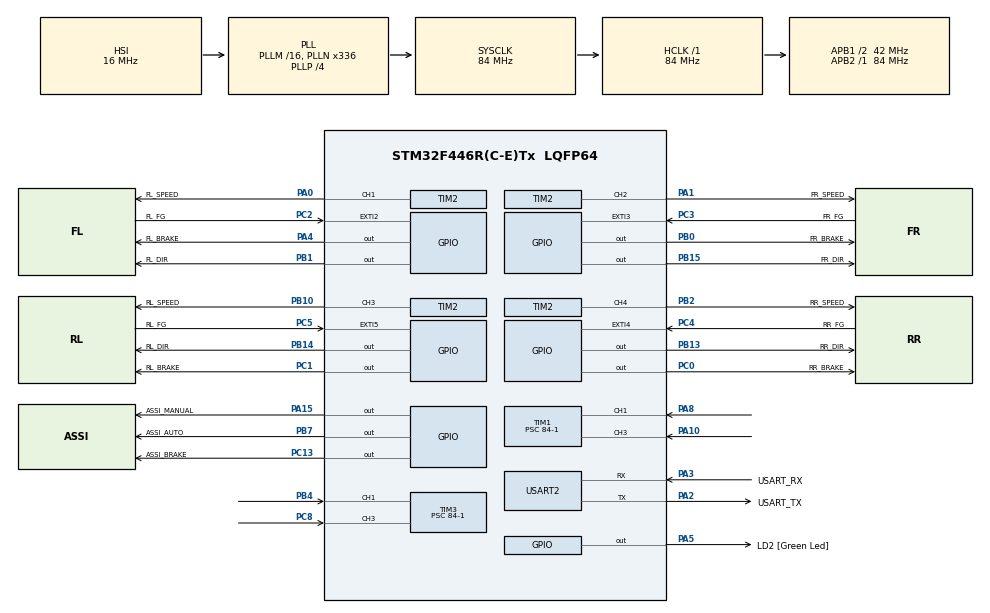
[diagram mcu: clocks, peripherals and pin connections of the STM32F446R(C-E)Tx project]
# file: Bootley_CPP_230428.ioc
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Dma.Request0=TIM1_CH1
Dma.Request1=TIM1_CH2
Dma.Request2=TIM1_CH3
Dma.Request3=TIM1_CH4/TRIG/COM
Dma.Request4=TIM3_CH1/TRIG
Dma.Request5=TIM3_CH2
Dma.Request6=TIM3_CH3
Dma.Request7=TIM3_CH4/UP
Dma.TIM1_CH1.0.Direction=DMA_PERIPH_TO_MEMORY
Dma.TIM1_CH1.0.FIFOMode=DMA_FIFOMODE_DISABLE
Dma.TIM1_CH1.0.Instance=DMA2_Stream1
Dma.TIM1_CH1.0.MemDataAlignment=DMA_MDATAALIGN_HALFWORD
Dma.TIM1_CH1.0.MemInc=DMA_MINC_ENABLE
Dma.TIM1_CH1.0.Mode=DMA_CIRCULAR
Dma.TIM1_CH1.0.PeriphDataAlignment=DMA_PDATAALIGN_HALFWORD
Dma.TIM1_CH1.0.PeriphInc=DMA_PINC_DISABLE
Dma.TIM1_CH1.0.Priority=DMA_PRIORITY_LOW
Dma.TIM1_CH2.1.Direction=DMA_PERIPH_TO_MEMORY
Dma.TIM1_CH2.1.FIFOMode=DMA_FIFOMODE_DISABLE
Dma.TIM1_CH2.1.Instance=DMA2_Stream2
Dma.TIM1_CH2.1.MemDataAlignment=DMA_MDATAALIGN_HALFWORD
Dma.TIM1_CH2.1.MemInc=DMA_MINC_ENABLE
Dma.TIM1_CH2.1.Mode=DMA_CIRCULAR
Dma.TIM1_CH2.1.PeriphDataAlignment=DMA_PDATAALIGN_HALFWORD
Dma.TIM1_CH2.1.PeriphInc=DMA_PINC_DISABLE
Dma.TIM1_CH2.1.Priority=DMA_PRIORITY_LOW
Dma.TIM1_CH3.2.Direction=DMA_PERIPH_TO_MEMORY
Dma.TIM1_CH3.2.FIFOMode=DMA_FIFOMODE_DISABLE
Dma.TIM1_CH3.2.Instance=DMA2_Stream6
Dma.TIM1_CH3.2.MemDataAlignment=DMA_MDATAALIGN_HALFWORD
Dma.TIM1_CH3.2.MemInc=DMA_MINC_ENABLE
Dma.TIM1_CH3.2.Mode=DMA_CIRCULAR
Dma.TIM1_CH3.2.PeriphDataAlignment=DMA_PDATAALIGN_HALFWORD
Dma.TIM1_CH3.2.PeriphInc=DMA_PINC_DISABLE
Dma.TIM1_CH3.2.Priority=DMA_PRIORITY_LOW
Dma.TIM1_CH4/TRIG/COM.3.Direction=DMA_PERIPH_TO_MEMORY
Dma.TIM1_CH4/TRIG/COM.3.FIFOMode=DMA_FIFOMODE_DISABLE
Dma.TIM1_CH4/TRIG/COM.3.Instance=DMA2_Stream4
Dma.TIM1_CH4/TRIG/COM.3.MemDataAlignment=DMA_MDATAALIGN_HALFWORD
Dma.TIM1_CH4/TRIG/COM.3.MemInc=DMA_MINC_ENABLE
Dma.TIM1_CH4/TRIG/COM.3.Mode=DMA_CIRCULAR
Dma.TIM1_CH4/TRIG/COM.3.PeriphDataAlignment=DMA_PDATAALIGN_HALFWORD
Dma.TIM1_CH4/TRIG/COM.3.PeriphInc=DMA_PINC_DISABLE
Dma.TIM1_CH4/TRIG/COM.3.Priority=DMA_PRIORITY_LOW
Dma.TIM3_CH1/TRIG.4.Direction=DMA_PERIPH_TO_MEMORY
Dma.TIM3_CH1/TRIG.4.FIFOMode=DMA_FIFOMODE_DISABLE
Dma.TIM3_CH1/TRIG.4.Instance=DMA1_Stream4
Dma.TIM3_CH1/TRIG.4.MemDataAlignment=DMA_MDATAALIGN_HALFWORD
Dma.TIM3_CH1/TRIG.4.MemInc=DMA_MINC_ENABLE
Dma.TIM3_CH1/TRIG.4.Mode=DMA_CIRCULAR
Dma.TIM3_CH1/TRIG.4.PeriphDataAlignment=DMA_PDATAALIGN_HALFWORD
Dma.TIM3_CH1/TRIG.4.PeriphInc=DMA_PINC_DISABLE
Dma.TIM3_CH1/TRIG.4.Priority=DMA_PRIORITY_LOW
Dma.TIM3_CH2.5.Direction=DMA_PERIPH_TO_MEMORY
Dma.TIM3_CH2.5.FIFOMode=DMA_FIFOMODE_DISABLE
Dma.TIM3_CH2.5.Instance=DMA1_Stream5
Dma.TIM3_CH2.5.MemDataAlignment=DMA_MDATAALIGN_HALFWORD
Dma.TIM3_CH2.5.MemInc=DMA_MINC_ENABLE
Dma.TIM3_CH2.5.Mode=DMA_CIRCULAR
Dma.TIM3_CH2.5.PeriphDataAlignment=DMA_PDATAALIGN_HALFWORD
Dma.TIM3_CH2.5.PeriphInc=DMA_PINC_DISABLE
Dma.TIM3_CH2.5.Priority=DMA_PRIORITY_LOW
Dma.TIM3_CH3.6.Direction=DMA_PERIPH_TO_MEMORY
Dma.TIM3_CH3.6.FIFOMode=DMA_FIFOMODE_DISABLE
Dma.TIM3_CH3.6.Instance=DMA1_Stream7
Dma.TIM3_CH3.6.MemDataAlignment=DMA_MDATAALIGN_HALFWORD
Dma.TIM3_CH3.6.MemInc=DMA_MINC_ENABLE
Dma.TIM3_CH3.6.Mode=DMA_CIRCULAR
Dma.TIM3_CH3.6.PeriphDataAlignment=DMA_PDATAALIGN_HALFWORD
Dma.TIM3_CH3.6.PeriphInc=DMA_PINC_DISABLE
Dma.TIM3_CH3.6.Priority=DMA_PRIORITY_LOW
Dma.TIM3_CH4/UP.7.Direction=DMA_PERIPH_TO_MEMORY
Dma.TIM3_CH4/UP.7.FIFOMode=DMA_FIFOMODE_DISABLE
Dma.TIM3_CH4/UP.7.Instance=DMA1_Stream2
Dma.TIM3_CH4/UP.7.MemDataAlignment=DMA_MDATAALIGN_HALFWORD
Dma.TIM3_CH4/UP.7.MemInc=DMA_MINC_ENABLE
Dma.TIM3_CH4/UP.7.Mode=DMA_CIRCULAR
Dma.TIM3_CH4/UP.7.PeriphDataAlignment=DMA_PDATAALIGN_HALFWORD
Dma.TIM3_CH4/UP.7.PeriphInc=DMA_PINC_DISABLE
Dma.TIM3_CH4/UP.7.Priority=DMA_PRIORITY_LOW
Mcu.Family=STM32F4
Mcu.Name=STM32F446R(C-E)Tx
Mcu.Package=LQFP64
NVIC.DMA1_Stream2_IRQn=true\:0\:0\:false\:false\:true\:false\:true\:true
NVIC.DMA1_Stream4_IRQn=true\:0\:0\:false\:false\:true\:false\:true\:true
NVIC.DMA1_Stream5_IRQn=true\:0\:0\:false\:false\:true\:false\:true\:true
NVIC.DMA1_Stream7_IRQn=true\:0\:0\:false\:false\:true\:false\:true\:true
NVIC.DMA2_Stream1_IRQn=true\:0\:0\:false\:false\:true\:false\:true\:true
NVIC.DMA2_Stream2_IRQn=true\:0\:0\:false\:false\:true\:false\:true\:true
NVIC.DMA2_Stream4_IRQn=true\:0\:0\:false\:false\:true\:false\:true\:true
NVIC.DMA2_Stream6_IRQn=true\:0\:0\:false\:false\:true\:false\:true\:true
NVIC.EXTI2_IRQn=true\:0\:0\:false\:false\:true\:true\:true\:true
NVIC.EXTI3_IRQn=true\:0\:0\:false\:false\:true\:true\:true\:true
NVIC.EXTI4_IRQn=true\:0\:0\:false\:false\:true\:true\:true\:true
NVIC.EXTI9_5_IRQn=true\:0\:0\:false\:false\:true\:true\:true\:true
NVIC.PriorityGroup=NVIC_PRIORITYGROUP_0
NVIC.TIM1_CC_IRQn=true\:0\:0\:false\:false\:true\:true\:true\:true
NVIC.TIM1_TRG_COM_TIM11_IRQn=true\:0\:0\:false\:false\:true\:true\:true\:true
NVIC.TIM1_UP_TIM10_IRQn=true\:0\:0\:false\:false\:true\:true\:true\:true
NVIC.TIM3_IRQn=true\:0\:0\:false\:false\:true\:true\:true\:true
PA0-WKUP.GPIO_Label=FL_SPEED
PA0-WKUP.Signal=S_TIM2_CH1_ETR
PA1.GPIO_Label=FR_SPEED
PA1.Signal=S_TIM2_CH2
PA10.Signal=S_TIM1_CH3
PA13.GPIO_Label=TMS
PA13.Mode=Serial_Wire
PA13.Signal=SYS_JTMS-SWDIO
PA14.GPIO_Label=TCK
PA14.Mode=Serial_Wire
PA14.Signal=SYS_JTCK-SWCLK
PA15.GPIO_Label=ASSI_MANUAL
PA15.Signal=GPIO_Output
PA2.GPIO_Label=USART_TX
PA2.Mode=Asynchronous
PA2.Signal=USART2_TX
PA3.GPIO_Label=USART_RX
PA3.Mode=Asynchronous
PA3.Signal=USART2_RX
PA4.GPIO_Label=FL_BRAKE
PA4.Signal=GPIO_Output
PA5.GPIO_Label=LD2 [Green Led]
PA5.Signal=GPIO_Output
PA8.Signal=S_TIM1_CH1
PB0.GPIO_Label=FR_BRAKE
PB0.Signal=GPIO_Output
PB1.GPIO_Label=FL_DIR
PB1.Signal=GPIO_Output
PB10.GPIO_Label=RL_SPEED
PB10.Signal=S_TIM2_CH3
PB13.GPIO_Label=RR_DIR
PB13.Signal=GPIO_Output
PB14.GPIO_Label=RL_DIR
PB14.Signal=GPIO_Output
PB15.GPIO_Label=FR_DIR
PB15.Signal=GPIO_Output
PB2.GPIO_Label=RR_SPEED
PB2.Signal=S_TIM2_CH4
PB3.GPIO_Label=SWO
PB3.Signal=SYS_JTDO-SWO
PB4.Signal=S_TIM3_CH1
PB7.GPIO_Label=ASSI_AUTO
PB7.Signal=GPIO_Output
PC0.GPIO_Label=RR_BRAKE
PC0.Signal=GPIO_Output
PC1.GPIO_Label=RL_BRAKE
PC1.Signal=GPIO_Output
PC13.GPIO_Label=ASSI_BRAKE
PC13.Signal=GPIO_Output
PC14-OSC32_IN.Mode=LSE-External-Oscillator
PC14-OSC32_IN.Signal=RCC_OSC32_IN
PC15-OSC32_OUT.Mode=LSE-External-Oscillator
PC15-OSC32_OUT.Signal=RCC_OSC32_OUT
PC2.GPIO_Label=FL_FG
PC2.GPIO_ModeDefaultEXTI=GPIO_MODE_IT_RISING_FALLING
PC2.Signal=GPXTI2
PC3.GPIO_Label=FR_FG
PC3.GPIO_ModeDefaultEXTI=GPIO_MODE_IT_RISING_FALLING
PC3.Signal=GPXTI3
PC4.GPIO_Label=RR_FG
PC4.GPIO_ModeDefaultEXTI=GPIO_MODE_IT_RISING_FALLING
PC4.Signal=GPXTI4
PC5.GPIO_Label=RL_FG
PC5.GPIO_ModeDefaultEXTI=GPIO_MODE_IT_RISING_FALLING
PC5.Signal=GPXTI5
PC8.Signal=S_TIM3_CH3
PH0-OSC_IN.Mode=HSE-External-Oscillator
PH0-OSC_IN.Signal=RCC_OSC_IN
PH1-OSC_OUT.Mode=HSE-External-Oscillator
PH1-OSC_OUT.Signal=RCC_OSC_OUT
ProjectManager.HeapSize=0x200
ProjectManager.StackSize=0x400
ProjectManager.TargetToolchain=STM32CubeIDE
RCC.48MHZClocksFreq_Value=84000000
RCC.AHBFreq_Value=84000000
RCC.APB1CLKDivider=RCC_HCLK_DIV2
RCC.APB1Freq_Value=42000000
RCC.APB1TimFreq_Value=84000000
RCC.APB2Freq_Value=84000000
RCC.APB2TimFreq_Value=84000000
RCC.CortexFreq_Value=84000000
RCC.FLatency-AdvancedSettings=FLASH_LATENCY_2
RCC.HCLKFreq_Value=84000000
RCC.HSE_VALUE=8000000
RCC.HSI_VALUE=16000000
RCC.PLLN=336
RCC.PLLP=RCC_PLLP_DIV4
RCC.SYSCLKFreq_VALUE=84000000
RCC.SYSCLKSource=RCC_SYSCLKSOURCE_PLLCLK
RCC.USBFreq_Value=168000000
RCC.VCOOutputFreq_Value=336000000
SH.S_TIM1_CH1.0=TIM1_CH1,Input_Capture1_from_TI1
SH.S_TIM1_CH3.0=TIM1_CH3,Input_Capture3_from_TI3
SH.S_TIM2_CH1_ETR.0=TIM2_CH1,PWM Generation1 CH1
SH.S_TIM2_CH2.0=TIM2_CH2,PWM Generation2 CH2
SH.S_TIM2_CH3.0=TIM2_CH3,PWM Generation3 CH3
SH.S_TIM2_CH4.0=TIM2_CH4,PWM Generation4 CH4
SH.S_TIM3_CH1.0=TIM3_CH1,Input_Capture1_from_TI1
SH.S_TIM3_CH3.0=TIM3_CH3,Input_Capture3_from_TI3
TIM1.Channel-Input_Capture1_from_TI1=TIM_CHANNEL_1
TIM1.Channel-Input_Capture2_from_TI1_63=TIM_CHANNEL_2
TIM1.Channel-Input_Capture3_from_TI3=TIM_CHANNEL_3
TIM1.Channel-Input_Capture4_from_TI3_63=TIM_CHANNEL_4
TIM1.ICFilter_CH1=15
TIM1.ICFilter_CH3=15
TIM1.ICPolarity_CH2=TIM_INPUTCHANNELPOLARITY_FALLING
TIM1.ICPolarity_CH4=TIM_INPUTCHANNELPOLARITY_FALLING
TIM1.Prescaler=84-1
TIM10.Period=5000-1
TIM10.Prescaler=840-1
TIM11.Period=1000-1
TIM11.Prescaler=84-1
TIM2.Channel-PWM\ Generation1\ CH1=TIM_CHANNEL_1
TIM2.Channel-PWM\ Generation2\ CH2=TIM_CHANNEL_2
TIM2.Channel-PWM\ Generation3\ CH3=TIM_CHANNEL_3
TIM2.Channel-PWM\ Generation4\ CH4=TIM_CHANNEL_4
TIM2.Period=820
TIM2.Prescaler=4
TIM2.Pulse-PWM\ Generation1\ CH1=900
TIM2.Pulse-PWM\ Generation2\ CH2=900
TIM2.Pulse-PWM\ Generation3\ CH3=900
TIM2.Pulse-PWM\ Generation4\ CH4=900
TIM3.Channel-Input_Capture1_from_TI1=TIM_CHANNEL_1
TIM3.Channel-Input_Capture2_from_TI1_63=TIM_CHANNEL_2
TIM3.Channel-Input_Capture3_from_TI3=TIM_CHANNEL_3
TIM3.Channel-Input_Capture4_from_TI3_63=TIM_CHANNEL_4
TIM3.ICFilter_CH1=15
TIM3.ICFilter_CH3=15
TIM3.ICPolarity_CH2=TIM_INPUTCHANNELPOLARITY_FALLING
TIM3.ICPolarity_CH4=TIM_INPUTCHANNELPOLARITY_FALLING
TIM3.Prescaler=84-1
USART2.VirtualMode=VM_ASYNC
VP_TIM10_VS_ClockSourceINT.Mode=Enable_Timer
VP_TIM11_VS_ClockSourceINT.Mode=Enable_Timer
VP_TIM1_VS_ClockSourceINT.Mode=Internal
VP_TIM1_VS_indirect_ch1.Mode=Input_Capture2_from_TI1_63
VP_TIM1_VS_indirect_ch3.Mode=Input_Capture4_from_TI3_63
VP_TIM2_VS_ClockSourceINT.Mode=Internal
VP_TIM3_VS_ClockSourceINT.Mode=Internal
VP_TIM3_VS_indirect_ch1.Mode=Input_Capture2_from_TI1_63
VP_TIM3_VS_indirect_ch3.Mode=Input_Capture4_from_TI3_63
board=NUCLEO-F446RE

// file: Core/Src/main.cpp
/* USER CODE BEGIN Header */
/**
  ******************************************************************************
  * @file           : main.c
  * @brief          : Main program body
  ******************************************************************************
  * @attention
  *
  * Copyright (c) 2023 STMicroelectronics.
  * All rights reserved.
  *
  * This software is licensed under terms that can be found in the LICENSE file
  * in the root directory of this software component.
  * If no LICENSE file comes with this software, it is provided AS-IS.
  *
  ******************************************************************************
  */
/* USER CODE END Header */
#include "main.h"
#include "dma.h"
#include "tim.h"
#include "usart.h"
#include "gpio.h"

/* USER CODE BEGIN Includes */
#include "Bootley.hpp"
#include <stdio.h>
#include "hal_plotting.h"
/* USER CODE END Includes */

void SystemClock_Config(void);

/* USER CODE BEGIN 0 */
extern uint8_t u8_flag_50ms;
/* USER CODE END 0 */

int main(void)
{
  /* USER CODE BEGIN 1 */

	  setvbuf(stdin, NULL, _IONBF, 0);
    Plotting plot;

  /* USER CODE END 1 */

  /* MCU Configuration--------------------------------------------------------*/

  /* Reset of all peripherals, Initializes the Flash interface and the Systick. */
  	HAL_Init();

  /* Configure the system clock */
  	SystemClock_Config();

  /* Initialize all configured peripherals */
  	MX_GPIO_Init();
  	MX_DMA_Init();
  	MX_USART2_UART_Init();
  	MX_TIM1_Init();
  	MX_TIM2_Init();
  	MX_TIM3_Init();
  	MX_TIM10_Init();
  	MX_TIM11_Init();
  /* USER CODE BEGIN 2 */

	  Bootley bootley;
	  bootley.InitModule();

  /* USER CODE END 2 */

  /* Infinite loop */
	  while (1)
	  {

    /* USER CODE BEGIN 3 */

		  bootley.SetCarState();
		  bootley.Drive();

      if (u8_flag_50ms >= 50)
      {
        u8_flag_50ms = 0;
        plot.reset();
        plot.put(bootley.f_FL_checked_rpm, 0);
        plot.put(bootley.f_FR_checked_rpm, 1);
        plot.put(bootley.f_RL_checked_rpm, 2);
        plot.put(bootley.f_RR_checked_rpm, 3);
        plot.send(&huart2);
      }

  	}
  /* USER CODE END 3 */
}

void SystemClock_Config(void)
{
  RCC_OscInitTypeDef RCC_OscInitStruct = {0};
  RCC_ClkInitTypeDef RCC_ClkInitStruct = {0};

  /** Configure the main internal regulator output voltage
  */
  __HAL_RCC_PWR_CLK_ENABLE();
  __HAL_PWR_VOLTAGESCALING_CONFIG(PWR_REGULATOR_VOLTAGE_SCALE3);

  /** Initializes the RCC Oscillators according to the specified parameters
  * in the RCC_OscInitTypeDef structure.
  */
  RCC_OscInitStruct.OscillatorType = RCC_OSCILLATORTYPE_HSI;
  RCC_OscInitStruct.HSIState = RCC_HSI_ON;
  RCC_OscInitStruct.HSICalibrationValue = RCC_HSICALIBRATION_DEFAULT;
  RCC_OscInitStruct.PLL.PLLState = RCC_PLL_ON;
  RCC_OscInitStruct.PLL.PLLSource = RCC_PLLSOURCE_HSI;
  RCC_OscInitStruct.PLL.PLLM = 16;
  RCC_OscInitStruct.PLL.PLLN = 336;
  RCC_OscInitStruct.PLL.PLLP = RCC_PLLP_DIV4;
  RCC_OscInitStruct.PLL.PLLQ = 2;
  RCC_OscInitStruct.PLL.PLLR = 2;
  if (HAL_RCC_OscConfig(&RCC_OscInitStruct) != HAL_OK)
  {
    Error_Handler();
  }

  /** Initializes the CPU, AHB and APB buses clocks
  */
  RCC_ClkInitStruct.ClockType = RCC_CLOCKTYPE_HCLK|RCC_CLOCKTYPE_SYSCLK
                              |RCC_CLOCKTYPE_PCLK1|RCC_CLOCKTYPE_PCLK2;
  RCC_ClkInitStruct.SYSCLKSource = RCC_SYSCLKSOURCE_PLLCLK;
  RCC_ClkInitStruct.AHBCLKDivider = RCC_SYSCLK_DIV1;
  RCC_ClkInitStruct.APB1CLKDivider = RCC_HCLK_DIV2;
  RCC_ClkInitStruct.APB2CLKDivider = RCC_HCLK_DIV1;

  if (HAL_RCC_ClockConfig(&RCC_ClkInitStruct, FLASH_LATENCY_2) != HAL_OK)
  {
    Error_Handler();
  }
}

void Error_Handler(void)
{
  __disable_irq();
  while (1)
  {
  }
}
